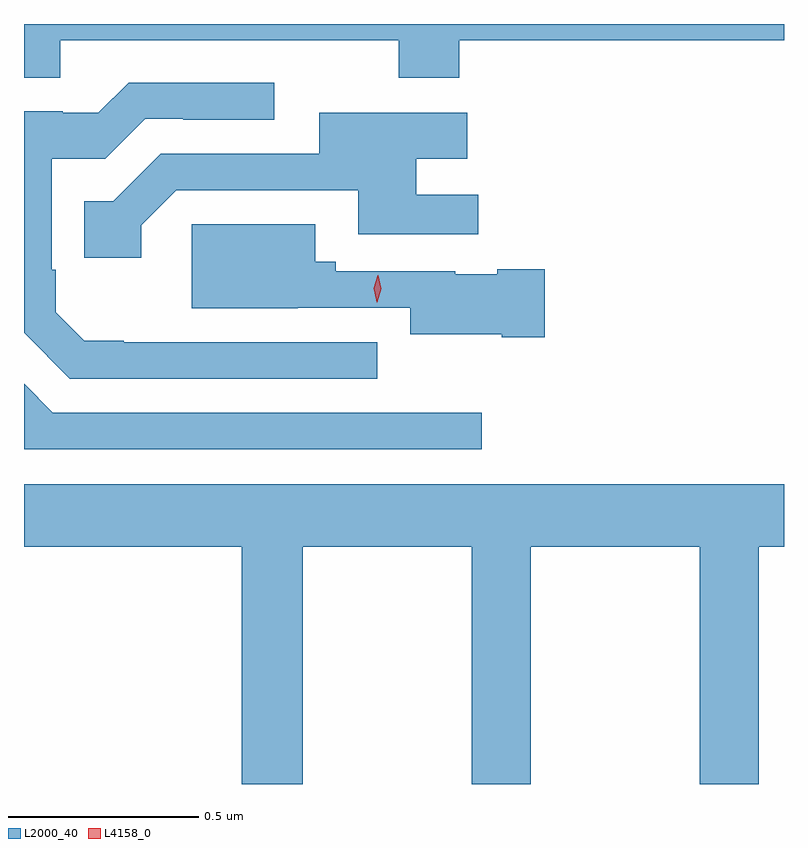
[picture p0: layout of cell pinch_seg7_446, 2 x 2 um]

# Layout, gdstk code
import gdstk
lib = gdstk.Library(unit=1e-6, precision=1e-09)
def P(c, l, *ps):  # polygons
    for p in ps: c.add(gdstk.Polygon(p, *l))
L2000_40 = (2000, 40)
L4158_0 = (4158, 0)

pinch_seg7_446 = lib.new_cell('pinch_seg7_446')
P(pinch_seg7_446, L2000_40, [(353.806,1072.544),(354.697,1072.544),(354.697,1072.445),(354.857,1072.445),(354.857,1072.544),(355.711,1072.544),(355.711,1072.587),(353.711,1072.587),(353.711,1072.445),(353.806,1072.445)],
  [(354.64,1071.75),(353.974,1071.75),(353.974,1071.753),(353.87,1071.753),(353.794,1071.828),(353.794,1071.94),(353.784,1071.94),(353.784,1072.233),(353.925,1072.233),(354.03,1072.338),(354.13,1072.338),(354.13,1072.335),(354.37,1072.335),(354.37,1072.432),(353.986,1072.432),(353.907,1072.353),(353.813,1072.353),(353.813,1072.357),(353.711,1072.357),(353.711,1071.774),(353.831,1071.654),(354.64,1071.654)],
  [(354.019,1072.057),(354.111,1072.149),(354.59,1072.149),(354.59,1072.034),(354.907,1072.034),(354.907,1072.138),(354.743,1072.138),(354.743,1072.232),(354.877,1072.232),(354.877,1072.354),(354.488,1072.354),(354.488,1072.245),(354.071,1072.245),(353.946,1072.12),(353.869,1072.12),(353.869,1071.972),(354.019,1071.972)],
  [(355.081,1071.941),(354.957,1071.941),(354.957,1071.928),(354.846,1071.928),(354.846,1071.936),(354.531,1071.936),(354.531,1071.961),(354.478,1071.961),(354.478,1072.06),(354.152,1072.06),(354.152,1071.839),(354.431,1071.839),(354.431,1071.84),(354.728,1071.84),(354.728,1071.77),(354.968,1071.77),(354.968,1071.763),(355.081,1071.763)],
  [(354.916,1071.564),(353.787,1071.564),(353.711,1071.64),(353.711,1071.468),(354.916,1071.468)],
  [(354.444,1071.212),(354.889,1071.212),(354.889,1070.587),(355.044,1070.587),(355.044,1071.212),(355.489,1071.212),(355.489,1070.587),(355.644,1070.587),(355.644,1071.212),(355.711,1071.212),(355.711,1071.376),(353.711,1071.376),(353.711,1071.212),(354.284,1071.212),(354.284,1070.587),(354.444,1070.587)])
P(pinch_seg7_446, L4158_0, [(354.639,1071.855),(354.631,1071.891),(354.642,1071.926),(354.643,1071.926),(354.643,1071.926),(354.651,1071.89),(354.64,1071.855),(354.64,1071.855)])

lib.write_gds('pinch_seg7_446.gds')
